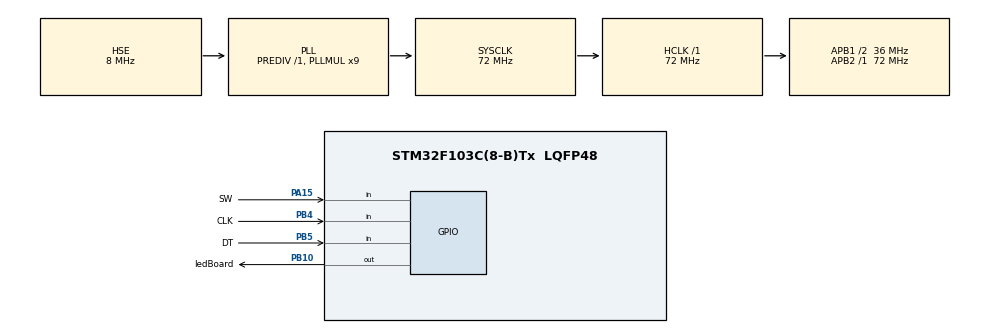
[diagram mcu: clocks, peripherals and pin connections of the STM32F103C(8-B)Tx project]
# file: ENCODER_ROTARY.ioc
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Mcu.Family=STM32F1
Mcu.Name=STM32F103C(8-B)Tx
Mcu.Package=LQFP48
NVIC.PriorityGroup=NVIC_PRIORITYGROUP_4
PA13.Mode=Serial_Wire
PA13.Signal=SYS_JTMS-SWDIO
PA14.Mode=Serial_Wire
PA14.Signal=SYS_JTCK-SWCLK
PA15.GPIO_Label=SW
PA15.Signal=GPIO_Input
PB10.GPIO_Label=ledBoard
PB10.Signal=GPIO_Output
PB4.GPIO_Label=CLK
PB4.Signal=GPIO_Input
PB5.GPIO_Label=DT
PB5.Signal=GPIO_Input
PD0-OSC_IN.Mode=HSE-External-Oscillator
PD0-OSC_IN.Signal=RCC_OSC_IN
PD1-OSC_OUT.Mode=HSE-External-Oscillator
PD1-OSC_OUT.Signal=RCC_OSC_OUT
ProjectManager.HeapSize=0x200
ProjectManager.StackSize=0x400
ProjectManager.TargetToolchain=STM32CubeIDE
RCC.AHBFreq_Value=72000000
RCC.APB1CLKDivider=RCC_HCLK_DIV2
RCC.APB1Freq_Value=36000000
RCC.APB1TimFreq_Value=72000000
RCC.APB2Freq_Value=72000000
RCC.APB2TimFreq_Value=72000000
RCC.HCLKFreq_Value=72000000
RCC.PLLMUL=RCC_PLL_MUL9
RCC.PLLSourceVirtual=RCC_PLLSOURCE_HSE
RCC.SYSCLKFreq_VALUE=72000000
RCC.SYSCLKSource=RCC_SYSCLKSOURCE_PLLCLK
RCC.USBFreq_Value=72000000
VP_TIM4_VS_ClockSourceINT.Mode=Internal
board=custom

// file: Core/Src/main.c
/* USER CODE BEGIN Header */
/**
  ******************************************************************************
  * @file           : main.c
  * @brief          : Main program body
  ******************************************************************************
  * @attention
  *
  * Copyright (c) 2023 STMicroelectronics.
  * All rights reserved.
  *
  * This software is licensed under terms that can be found in the LICENSE file
  * in the root directory of this software component.
  * If no LICENSE file comes with this software, it is provided AS-IS.
  *
  ******************************************************************************
  */
/* USER CODE END Header */
#include "main.h"

/* USER CODE BEGIN Includes */
#include "Anglas_ENCODER_ROT.h"
/* USER CODE END Includes */

TIM_HandleTypeDef htim4;

/* USER CODE BEGIN PV */
uint8_t encoder;
uint8_t estButton=0;
/* USER CODE END PV */

void SystemClock_Config(void);
static void MX_GPIO_Init(void);
static void MX_TIM4_Init(void);
/* USER CODE BEGIN PFP */
uint8_t pressButtonEncoder(uint8_t numButton, GPIO_TypeDef *GPIOx, uint16_t GPIO_Pin);
/* USER CODE END PFP */

int main(void)
{

  /* MCU Configuration--------------------------------------------------------*/

  /* Reset of all peripherals, Initializes the Flash interface and the Systick. */
  HAL_Init();

  /* Configure the system clock */
  SystemClock_Config();

  /* Initialize all configured peripherals */
  MX_GPIO_Init();
  MX_TIM4_Init();
  /* USER CODE BEGIN 2 */
  HAL_TIM_Base_Start_IT(&htim4);
  /* USER CODE END 2 */

  /* Infinite loop */
  /* USER CODE BEGIN WHILE */
  while (1)
  {

	  if(pressButtonEncoder(1,SW_GPIO_Port,SW_Pin)){
		  HAL_GPIO_WritePin(ledBoard_GPIO_Port, ledBoard_Pin, SET);
		  estButton = 1;
      }else{
	      HAL_GPIO_WritePin(ledBoard_GPIO_Port, ledBoard_Pin, RESET);
    	  estButton = 0;
	  }
    /* USER CODE END WHILE */

  }
}

void SystemClock_Config(void)
{
  RCC_OscInitTypeDef RCC_OscInitStruct = {0};
  RCC_ClkInitTypeDef RCC_ClkInitStruct = {0};

  /** Initializes the RCC Oscillators according to the specified parameters
  * in the RCC_OscInitTypeDef structure.
  */
  RCC_OscInitStruct.OscillatorType = RCC_OSCILLATORTYPE_HSE;
  RCC_OscInitStruct.HSEState = RCC_HSE_ON;
  RCC_OscInitStruct.HSEPredivValue = RCC_HSE_PREDIV_DIV1;
  RCC_OscInitStruct.HSIState = RCC_HSI_ON;
  RCC_OscInitStruct.PLL.PLLState = RCC_PLL_ON;
  RCC_OscInitStruct.PLL.PLLSource = RCC_PLLSOURCE_HSE;
  RCC_OscInitStruct.PLL.PLLMUL = RCC_PLL_MUL9;
  if (HAL_RCC_OscConfig(&RCC_OscInitStruct) != HAL_OK)
  {
    Error_Handler();
  }

  /** Initializes the CPU, AHB and APB buses clocks
  */
  RCC_ClkInitStruct.ClockType = RCC_CLOCKTYPE_HCLK|RCC_CLOCKTYPE_SYSCLK
                              |RCC_CLOCKTYPE_PCLK1|RCC_CLOCKTYPE_PCLK2;
  RCC_ClkInitStruct.SYSCLKSource = RCC_SYSCLKSOURCE_PLLCLK;
  RCC_ClkInitStruct.AHBCLKDivider = RCC_SYSCLK_DIV1;
  RCC_ClkInitStruct.APB1CLKDivider = RCC_HCLK_DIV2;
  RCC_ClkInitStruct.APB2CLKDivider = RCC_HCLK_DIV1;

  if (HAL_RCC_ClockConfig(&RCC_ClkInitStruct, FLASH_LATENCY_2) != HAL_OK)
  {
    Error_Handler();
  }
}

static void MX_TIM4_Init(void)
{

  TIM_ClockConfigTypeDef sClockSourceConfig = {0};
  TIM_MasterConfigTypeDef sMasterConfig = {0};

  htim4.Instance = TIM4;
  htim4.Init.Prescaler = 0;
  htim4.Init.CounterMode = TIM_COUNTERMODE_UP;
  htim4.Init.Period = 65535;
  htim4.Init.ClockDivision = TIM_CLOCKDIVISION_DIV1;
  htim4.Init.AutoReloadPreload = TIM_AUTORELOAD_PRELOAD_DISABLE;
  if (HAL_TIM_Base_Init(&htim4) != HAL_OK)
  {
    Error_Handler();
  }
  sClockSourceConfig.ClockSource = TIM_CLOCKSOURCE_INTERNAL;
  if (HAL_TIM_ConfigClockSource(&htim4, &sClockSourceConfig) != HAL_OK)
  {
    Error_Handler();
  }
  sMasterConfig.MasterOutputTrigger = TIM_TRGO_RESET;
  sMasterConfig.MasterSlaveMode = TIM_MASTERSLAVEMODE_DISABLE;
  if (HAL_TIMEx_MasterConfigSynchronization(&htim4, &sMasterConfig) != HAL_OK)
  {
    Error_Handler();
  }

}

static void MX_GPIO_Init(void)
{
  GPIO_InitTypeDef GPIO_InitStruct = {0};

  /* GPIO Ports Clock Enable */
  __HAL_RCC_GPIOD_CLK_ENABLE();
  __HAL_RCC_GPIOB_CLK_ENABLE();
  __HAL_RCC_GPIOA_CLK_ENABLE();

  /*Configure GPIO pin Output Level */
  HAL_GPIO_WritePin(ledBoard_GPIO_Port, ledBoard_Pin, GPIO_PIN_RESET);

  /*Configure GPIO pin : ledBoard_Pin */
  GPIO_InitStruct.Pin = ledBoard_Pin;
  GPIO_InitStruct.Mode = GPIO_MODE_OUTPUT_PP;
  GPIO_InitStruct.Pull = GPIO_NOPULL;
  GPIO_InitStruct.Speed = GPIO_SPEED_FREQ_LOW;
  HAL_GPIO_Init(ledBoard_GPIO_Port, &GPIO_InitStruct);

  /*Configure GPIO pin : SW_Pin */
  GPIO_InitStruct.Pin = SW_Pin;
  GPIO_InitStruct.Mode = GPIO_MODE_INPUT;
  GPIO_InitStruct.Pull = GPIO_NOPULL;
  HAL_GPIO_Init(SW_GPIO_Port, &GPIO_InitStruct);

  /*Configure GPIO pins : CLK_Pin DT_Pin */
  GPIO_InitStruct.Pin = CLK_Pin|DT_Pin;
  GPIO_InitStruct.Mode = GPIO_MODE_INPUT;
  GPIO_InitStruct.Pull = GPIO_NOPULL;
  HAL_GPIO_Init(GPIOB, &GPIO_InitStruct);

}

/* USER CODE BEGIN 4 */
void HAL_TIM_PeriodElapsedCallback(TIM_HandleTypeDef *htim) {
	if (htim->Instance == TIM4) {//Leemos el encoder cada 5ms
		encoder = Encoder_Run();
	}
}

uint8_t pressButtonEncoder(uint8_t numButton, GPIO_TypeDef *GPIOx, uint16_t GPIO_Pin){
	#define cantleds 5
	static uint8_t mem[cantleds]={0};
	uint8_t led[cantleds]={0};
	static uint8_t suma[cantleds]={0};
 	if(HAL_GPIO_ReadPin(GPIOx, GPIO_Pin)  && !mem[numButton]){mem[numButton] = 1;}
	if(!HAL_GPIO_ReadPin(GPIOx, GPIO_Pin) &&  mem[numButton]){suma[numButton]++; mem[numButton] = 0;}
	if(suma[numButton]==1){
		led[numButton]=1;
	}
	if(suma[numButton]==2){
		suma[numButton]=0;
		led[numButton]=0;
	}
	return led[numButton];
}
/* USER CODE END 4 */

void Error_Handler(void)
{
  __disable_irq();
  while (1)
  {
  }
}
